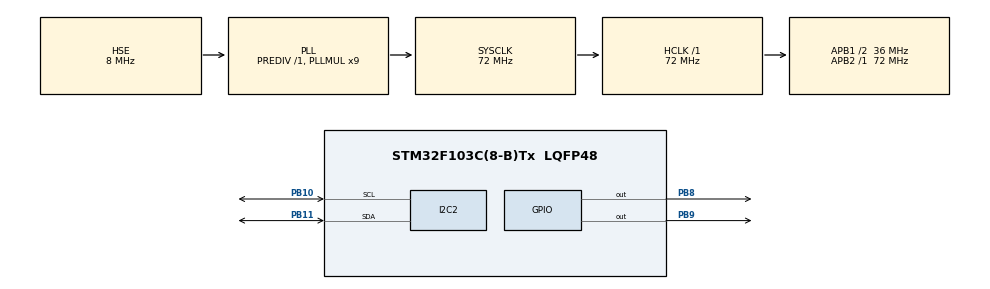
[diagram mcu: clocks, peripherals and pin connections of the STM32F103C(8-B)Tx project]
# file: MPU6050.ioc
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I2C2.I2C_Mode=I2C_Fast
Mcu.Family=STM32F1
Mcu.Name=STM32F103C(8-B)Tx
Mcu.Package=LQFP48
NVIC.PriorityGroup=NVIC_PRIORITYGROUP_4
NVIC.TIM2_IRQn=true\:0\:0\:false\:false\:true\:true\:true\:true
PA13.Mode=Serial_Wire
PA13.Signal=SYS_JTMS-SWDIO
PA14.Mode=Serial_Wire
PA14.Signal=SYS_JTCK-SWCLK
PB10.Mode=I2C
PB10.Signal=I2C2_SCL
PB11.Mode=I2C
PB11.Signal=I2C2_SDA
PB8.GPIO_ModeDefaultOutputPP=GPIO_MODE_OUTPUT_OD
PB8.GPIO_PuPd=GPIO_NOPULL
PB8.Signal=GPIO_Output
PB9.GPIO_ModeDefaultOutputPP=GPIO_MODE_OUTPUT_OD
PB9.GPIO_PuPd=GPIO_NOPULL
PB9.Signal=GPIO_Output
PC14-OSC32_IN.Mode=LSE-External-Oscillator
PC14-OSC32_IN.Signal=RCC_OSC32_IN
PC15-OSC32_OUT.Mode=LSE-External-Oscillator
PC15-OSC32_OUT.Signal=RCC_OSC32_OUT
PD0-OSC_IN.Mode=HSE-External-Oscillator
PD0-OSC_IN.Signal=RCC_OSC_IN
PD1-OSC_OUT.Mode=HSE-External-Oscillator
PD1-OSC_OUT.Signal=RCC_OSC_OUT
ProjectManager.HeapSize=0x200
ProjectManager.StackSize=0x400
ProjectManager.TargetToolchain=CMake
RCC.AHBFreq_Value=72000000
RCC.APB1CLKDivider=RCC_HCLK_DIV2
RCC.APB1Freq_Value=36000000
RCC.APB1TimFreq_Value=72000000
RCC.APB2Freq_Value=72000000
RCC.APB2TimFreq_Value=72000000
RCC.HCLKFreq_Value=72000000
RCC.PLLMUL=RCC_PLL_MUL9
RCC.PLLSourceVirtual=RCC_PLLSOURCE_HSE
RCC.SYSCLKFreq_VALUE=72000000
RCC.SYSCLKSource=RCC_SYSCLKSOURCE_PLLCLK
RCC.USBFreq_Value=72000000
TIM2.Period=9999
TIM2.Prescaler=71
VP_TIM2_VS_ClockSourceINT.Mode=Internal
board=custom

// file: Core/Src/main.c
/* USER CODE BEGIN Header */
/**
  ******************************************************************************
  * @file           : main.c
  * @brief          : Main program body
  ******************************************************************************
  * @attention
  *
  * Copyright (c) 2026 STMicroelectronics.
  * All rights reserved.
  *
  * This software is licensed under terms that can be found in the LICENSE file
  * in the root directory of this software component.
  * If no LICENSE file comes with this software, it is provided AS-IS.
  *
  ******************************************************************************
  */
/* USER CODE END Header */
#include "main.h"
#include "i2c.h"
#include "tim.h"
#include "gpio.h"

/* USER CODE BEGIN Includes */
#include <math.h>

#include "OLED.h"
#include "MPU6050.h"
/* USER CODE END Includes */

/* USER CODE BEGIN PV */
int16_t raw_accel[3], raw_gyro[3];
float accel[3], gyro[3];

volatile float pitch = 0.0f;
volatile float roll  = 0.0f;
volatile float yaw   = 0.0f;

float alpha = 0.98f;
uint32_t last_tick = 0;

float gyro_offset[3] = {0.0f, 0.0f, 0.0f};

/* USER CODE END PV */

void SystemClock_Config(void);

int main(void)
{

  /* MCU Configuration--------------------------------------------------------*/

  /* Reset of all peripherals, Initializes the Flash interface and the Systick. */
  HAL_Init();

  /* Configure the system clock */
  SystemClock_Config();

  /* Initialize all configured peripherals */
  MX_GPIO_Init();
  MX_I2C2_Init();
  MX_TIM2_Init();
  /* USER CODE BEGIN 2 */

  OLED_Init();
  if (MPU6050_Init(&hi2c2) != 0) {
    OLED_ShowString(1,1,"MPU6050InitError");
    while(1);
  }

  // 计算零偏
  OLED_ShowString(1,1,"Waiting......");
  float sum[3] = {0.0f, 0.0f, 0.0f};
  const int N = 500;                  // 采样次数
  for (int i = 0; i < N; i++) {
    MPU6050_GetDatas(&hi2c2, raw_accel, raw_gyro);
    for (int j = 0; j < 3; j++) {
      sum[j] += raw_gyro[j] / 16.4f;   // 转成 °/s 再累加
    }
    // 由MPU6050更新频率决定
    HAL_Delay(10);
  }
  for (int j = 0; j < 3; j++) {
    gyro_offset[j] = sum[j] / N;    // 平均值就是零偏
  }

  OLED_ShowString(1, 1, "Pitch:");
  OLED_ShowString(2, 1, "Roll :");
  OLED_ShowString(3, 1, "Yaw  :");

  last_tick = HAL_GetTick();
  HAL_TIM_Base_Start_IT(&htim2);   // 启动 TIM2 中断

  /* USER CODE END 2 */

  /* Infinite loop */
  /* USER CODE BEGIN WHILE */
  while (1)
  {
    OLED_ShowFloat(1, 7, pitch, 3, 2);
    OLED_ShowFloat(2, 7, roll,  3, 2);
    OLED_ShowFloat(3, 7, yaw,   3, 2);

    /* USER CODE END WHILE */

  }
}

void SystemClock_Config(void)
{
  RCC_OscInitTypeDef RCC_OscInitStruct = {0};
  RCC_ClkInitTypeDef RCC_ClkInitStruct = {0};

  /** Initializes the RCC Oscillators according to the specified parameters
  * in the RCC_OscInitTypeDef structure.
  */
  RCC_OscInitStruct.OscillatorType = RCC_OSCILLATORTYPE_HSE;
  RCC_OscInitStruct.HSEState = RCC_HSE_ON;
  RCC_OscInitStruct.HSEPredivValue = RCC_HSE_PREDIV_DIV1;
  RCC_OscInitStruct.HSIState = RCC_HSI_ON;
  RCC_OscInitStruct.PLL.PLLState = RCC_PLL_ON;
  RCC_OscInitStruct.PLL.PLLSource = RCC_PLLSOURCE_HSE;
  RCC_OscInitStruct.PLL.PLLMUL = RCC_PLL_MUL9;
  if (HAL_RCC_OscConfig(&RCC_OscInitStruct) != HAL_OK)
  {
    Error_Handler();
  }

  /** Initializes the CPU, AHB and APB buses clocks
  */
  RCC_ClkInitStruct.ClockType = RCC_CLOCKTYPE_HCLK|RCC_CLOCKTYPE_SYSCLK
                              |RCC_CLOCKTYPE_PCLK1|RCC_CLOCKTYPE_PCLK2;
  RCC_ClkInitStruct.SYSCLKSource = RCC_SYSCLKSOURCE_PLLCLK;
  RCC_ClkInitStruct.AHBCLKDivider = RCC_SYSCLK_DIV1;
  RCC_ClkInitStruct.APB1CLKDivider = RCC_HCLK_DIV2;
  RCC_ClkInitStruct.APB2CLKDivider = RCC_HCLK_DIV1;

  if (HAL_RCC_ClockConfig(&RCC_ClkInitStruct, FLASH_LATENCY_2) != HAL_OK)
  {
    Error_Handler();
  }
}

/* USER CODE BEGIN 4 */
void HAL_TIM_PeriodElapsedCallback(TIM_HandleTypeDef *htim)
{
  if (htim->Instance == TIM2)
  {
    // 计算真实 dt 防止各种原因干扰
    uint32_t now = HAL_GetTick();
    // 将时间差转换成秒
    float dt = (now - last_tick) * 0.001f;
    // 更新last_tick时间值
    last_tick = now;

    // 读取原始数据
    MPU6050_GetDatas(&hi2c2, raw_accel, raw_gyro);

    // 处理原始数据，将其转换成实际物理量
    for (int i = 0; i < 3; i++) {
      // 16384.0 是因为加速度计的测量范围是±2g，而int16_t范围是-32768~32767，除2得到
      accel[i]  = raw_accel[i] / 16384.0f;
      // 同理，当前配置量程是±2000°/s,每 1°/s 对应的刻度数 = 65536 / 4000 = 16.384 ≈ 16.4 LSB/(°/s)
      gyro[i] = raw_gyro[i] / 16.4f;
    }

    // 减去零偏
    gyro[0] -= gyro_offset[0];
    gyro[1] -= gyro_offset[1];
    gyro[2] -= gyro_offset[2];

    //  加速度计算角度,其中180° = π 弧度 ≈ 3.14159 弧度 ==》1 弧度 = 180 / π ≈ 57.29578°
    float acc_pitch = atan2f(accel[1] , sqrtf(accel[1]*accel[1] + accel[2]*accel[2])) * 57.29578f;
    float acc_roll  = atan2f(accel[0] , sqrtf(accel[0]*accel[0] + accel[2]*accel[2])) * 57.29578f;

    // 一阶互补滤波
    pitch = alpha * (pitch + gyro[0] * dt) + (1.0f - alpha) * acc_pitch;
    roll  = alpha * (roll  + gyro[1] * dt) + (1.0f - alpha) * acc_roll;

    yaw += gyro[2] * dt;
  }
}
/* USER CODE END 4 */

void Error_Handler(void)
{
  __disable_irq();
  while (1)
  {
  }
}
